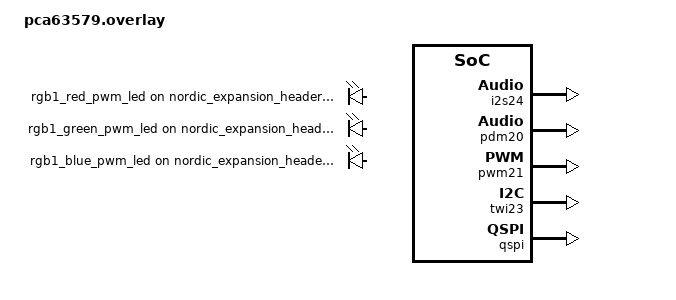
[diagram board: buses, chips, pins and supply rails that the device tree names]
/ {
        chosen {
                nordic,pm-ext-flash = &qspi_flash;
        };

        pwmleds {
		compatible = "pwm-leds";

		rgb1_red_pwm_led: pwm_led_0 {
			pwms = <&nordic_expansion_header 7 PWM_MSEC(20) PWM_POLARITY_NORMAL>;
		};

		rgb1_green_pwm_led: pwm_led_1 {
			pwms = <&nordic_expansion_header 11 PWM_MSEC(20) PWM_POLARITY_NORMAL>;
		};

		rgb1_blue_pwm_led: pwm_led_2 {
			pwms = <&nordic_expansion_header 6 PWM_MSEC(20) PWM_POLARITY_NORMAL>;
		};
	};
};

&i2s24 {
        compatible = "nordic,nrf-i2s";
        status = "okay";
        pinctrl-0 = <&i2s24_default>;
        pinctrl-1 = <&i2s24_sleep>;
        pinctrl-names = "default", "sleep";
};

&pdm20 {
        status = "okay";
        pinctrl-0 = <&pdm20_default>;
        pinctrl-names = "default";
};

&pwm21    {
        status = "okay";
        pinctrl-0 = <&pwm21_default>;
        pinctrl-1 = <&pwm21_sleep>;
        pinctrl-names = "default", "sleep";
};

&twi23 {
        status = "okay";
        pinctrl-0 = <&twi23_default>;
        pinctrl-1 = <&twi23_sleep>;
        pinctrl-names = "default", "sleep";
};

&qspi {
        status = "okay";
        pinctrl-0 = <&qspi_default>;
        pinctrl-names = "default";
};

&gpio0 {
        status = "okay";

        codec_int: int {
                gpios = <&nordic_expansion_header 10 GPIO_ACTIVE_HIGH>;
        };
        line_detect: detect {
                gpios = <&nordic_expansion_header 15 GPIO_ACTIVE_HIGH>;
        };
};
